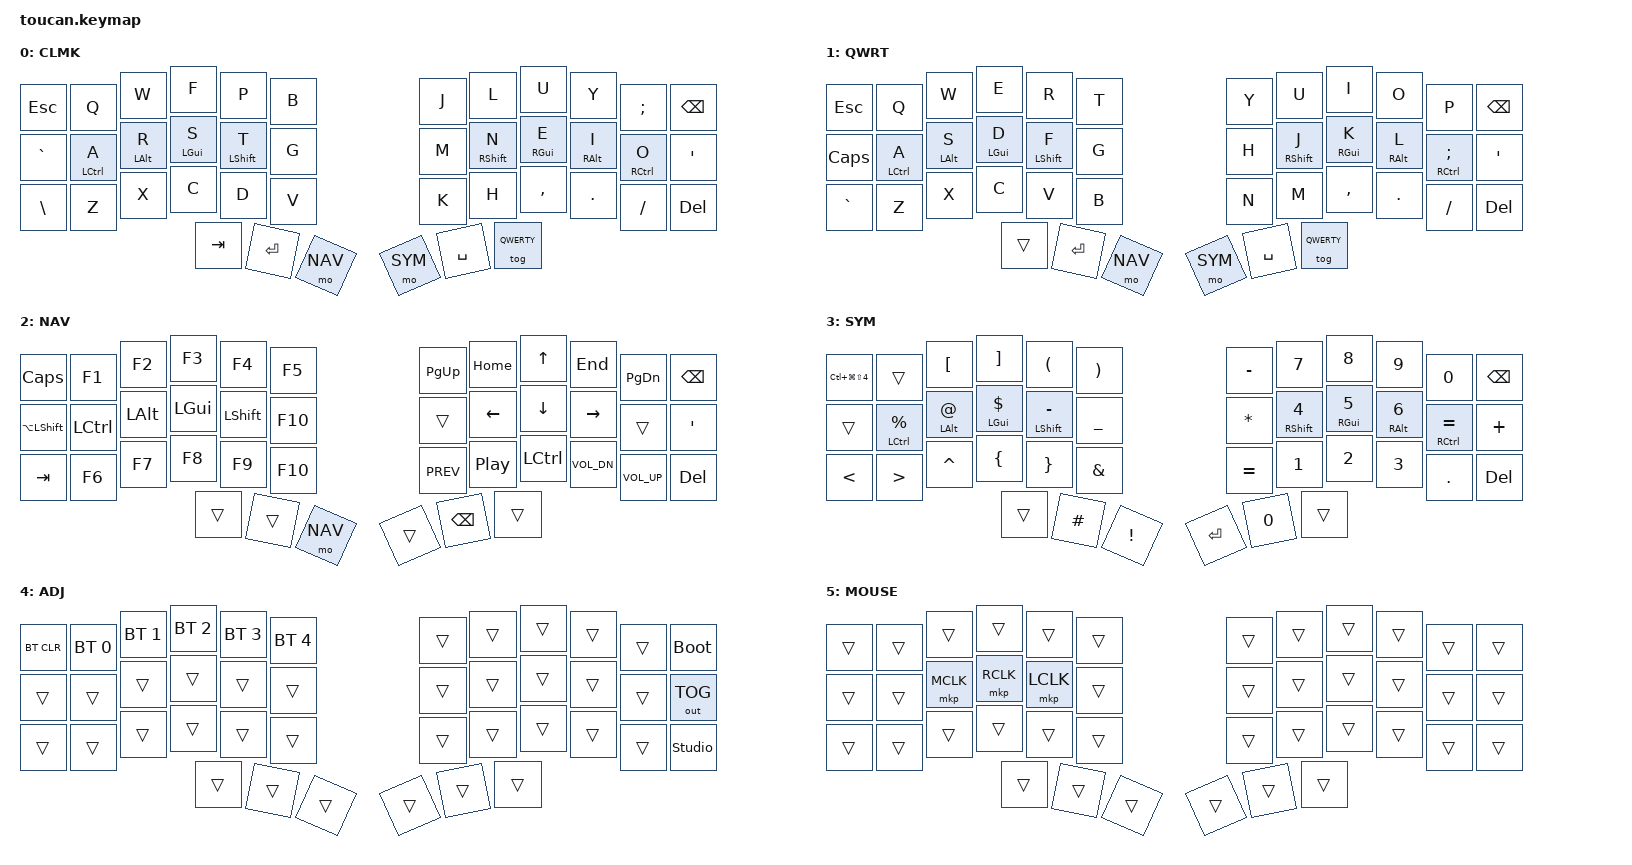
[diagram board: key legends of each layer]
#include <behaviors.dtsi>
#include <dt-bindings/zmk/keys.h>
#include <dt-bindings/zmk/bt.h>
#include <dt-bindings/zmk/outputs.h>
#include <dt-bindings/zmk/pointing.h>

// Layer numbering matches the Corne config: Colemak=0, QWERTY=1, NAV=2, SYM=3.
// ADJ=4 (tri-layer: NAV+SYM held together) and MOUSE=5 (auto-activated by
// trackpad touch, see boards/shields/toucan/toucan.dtsi) are Toucan2-only
// additions the Corne doesn't need (no BT, no trackpad).
#define COLEMAK 0
#define QWERTY 1
#define NAV    2
#define SYM    3
#define ADJ    4
#define MOUSE  5

/ {
    behaviors {
        // Positional home row mods: hold only fast-resolves when the OTHER hand
        // presses+releases a key (balanced flavor + hold-trigger-key-positions).
        // Same-hand combos (e.g. Ctrl+Z, both on the left hand in Colemak DH)
        // still work, just need a deliberate ~280ms hold instead of a quick tap.
        // require-prior-idle-ms was 150; keystroke logs showed mid-flow Shift
        // (e.g. capital after a space) failing at ~70ms idle while successful
        // Shift always had ≥350ms. 50ms keeps some roll protection without
        // blocking opposite-hand Shift right after typing.
        hml: homerow_mods_left {
            compatible = "zmk,behavior-hold-tap";
            #binding-cells = <2>;
            flavor = "balanced";
            tapping-term-ms = <280>;
            quick-tap-ms = <175>;
            require-prior-idle-ms = <50>;
            bindings = <&kp>, <&kp>;
            hold-trigger-key-positions = <6 7 8 9 10 11 18 19 20 21 22 23 30 31 32 33 34 35 39 40 41>;
            hold-trigger-on-release;
        };

        hmr: homerow_mods_right {
            compatible = "zmk,behavior-hold-tap";
            #binding-cells = <2>;
            flavor = "balanced";
            tapping-term-ms = <280>;
            quick-tap-ms = <175>;
            require-prior-idle-ms = <50>;
            bindings = <&kp>, <&kp>;
            hold-trigger-key-positions = <0 1 2 3 4 5 12 13 14 15 16 17 24 25 26 27 28 29 36 37 38>;
            hold-trigger-on-release;
        };
    };

    conditional_layers {
        compatible = "zmk,conditional-layers";
        tri_layer {
            if-layers = <NAV SYM>;
            then-layer = <ADJ>;
        };
    };

    keymap {
        compatible = "zmk,keymap";

        colemak {
            display-name = "CLMK";
            // Colemak DH, home row mods, inner thumbs = NAV/SYM, outer right thumb = QWERTY toggle
            bindings = <
&kp ESC    &kp Q         &kp W        &kp F        &kp P         &kp B        &kp J    &kp L         &kp U        &kp Y        &kp SEMI      &kp BSPC
&kp GRAVE  &hml LCTRL A  &hml LALT R  &hml LGUI S  &hml LSHFT T  &kp G        &kp M    &hmr RSHFT N  &hmr RGUI E  &hmr RALT I  &hmr RCTRL O  &kp SQT
&kp BSLH   &kp Z         &kp X        &kp C        &kp D         &kp V        &kp K    &kp H         &kp COMMA    &kp DOT      &kp FSLH      &kp DEL
                                      &kp TAB      &kp RET       &mo NAV      &mo SYM  &kp SPACE     &tog QWERTY
            >;
        };

        qwerty {
            display-name = "QWRT";
            // Standard QWERTY (Hebrew input), same home row mod pattern, CapsLock for IME switching
            bindings = <
&kp ESC       &kp Q         &kp W        &kp E        &kp R         &kp T        &kp Y    &kp U         &kp I        &kp O        &kp P            &kp BSPC
&kp CAPSLOCK  &hml LCTRL A  &hml LALT S  &hml LGUI D  &hml LSHFT F  &kp G        &kp H    &hmr RSHFT J  &hmr RGUI K  &hmr RALT L  &hmr RCTRL SEMI  &kp SQT
&kp GRAVE     &kp Z         &kp X        &kp C        &kp V         &kp B        &kp N    &kp M         &kp COMMA    &kp DOT      &kp FSLH         &kp DEL
                                         &trans       &kp RET       &mo NAV      &mo SYM  &kp SPACE     &tog QWERTY
            >;
        };

        nav {
            display-name = "NAV";
            // Left: F-keys + mods. Right: arrows/paging + media/volume.
            bindings = <
&kp CAPSLOCK   &kp F1     &kp F2    &kp F3    &kp F4     &kp F5       &kp PG_UP   &kp HOME  &kp UP     &kp END       &kp PG_DN     &kp BSPC
&kp LA(LSHFT)  &kp LCTRL  &kp LALT  &kp LGUI  &kp LSHFT  &kp F10      &trans      &kp LEFT  &kp DOWN   &kp RIGHT     &trans        &kp SQT
&kp TAB        &kp F6     &kp F7    &kp F8    &kp F9     &kp F10      &kp C_PREV  &kp C_PP  &kp LCTRL  &kp C_VOL_DN  &kp C_VOL_UP  &kp DEL
                                    &trans    &trans     &mo NAV      &trans      &kp BSPC  &trans
            >;
        };

        sym {
            display-name = "SYM";
            // Right: numpad, untouched from before. Left: home-row mods on col 1-4/7-10
            // (same hml/hmr behaviors and columns as Colemak) so Ctrl/Alt/Gui/Shift never
            // move between layers; ( ) mirrored on the innermost columns; [ ] ( ) grouped
            // on row 0, { } on row 2 for one-glance bracket access.
            bindings = <
&kp LC(LG(LS(N4)))  &trans           &kp LBKT       &kp RBKT       &kp LPAR         &kp RPAR       &kp MINUS  &kp N7        &kp N8        &kp N9        &kp N0     &kp BSPC
&trans              &hml LCTRL PRCNT &hml LALT AT   &hml LGUI DLLR &hml LSHFT MINUS &kp UNDER      &kp ASTRK  &hmr RSHFT N4 &hmr RGUI N5  &hmr RALT N6  &hmr RCTRL EQUAL  &kp PLUS
&kp LT              &kp GT           &kp CARET      &kp LBRC       &kp RBRC         &kp AMPS       &kp EQUAL  &kp N1        &kp N2        &kp N3        &kp DOT    &kp DEL
                                                     &trans         &kp HASH         &kp EXCL       &kp RET    &kp N0        &trans
            >;
        };

        adj {
            display-name = "ADJ";
            // Auto-activated by holding NAV+SYM together. BT profiles + output toggle + reset.
            bindings = <
&bt BT_CLR  &bt BT_SEL 0  &bt BT_SEL 1  &bt BT_SEL 2  &bt BT_SEL 3  &bt BT_SEL 4      &trans  &trans  &trans  &trans  &trans  &bootloader
&trans      &trans        &trans        &trans        &trans        &trans            &trans  &trans  &trans  &trans  &trans  &out OUT_TOG
&trans      &trans        &trans        &trans        &trans        &trans            &trans  &trans  &trans  &trans  &trans  &studio_unlock
                                        &trans        &trans        &trans            &trans  &trans  &trans
            >;
        };

        mouse {
            display-name = "MOUSE";
            // Auto-activated while touching the trackpad (is_touching_processor in toucan.dtsi).
            // Left home row (R/S/T on Colemak, S/D/F on QWERTY) becomes mouse clicks, so the
            // left hand can click while the right hand/thumb works the trackpad. Rest transparent.
            bindings = <
&trans  &trans  &trans     &trans     &trans     &trans      &trans  &trans  &trans  &trans  &trans  &trans
&trans  &trans  &mkp MCLK  &mkp RCLK  &mkp LCLK  &trans      &trans  &trans  &trans  &trans  &trans  &trans
&trans  &trans  &trans     &trans     &trans     &trans      &trans  &trans  &trans  &trans  &trans  &trans
                           &trans     &trans     &trans      &trans  &trans  &trans
            >;
        };
    };
};
